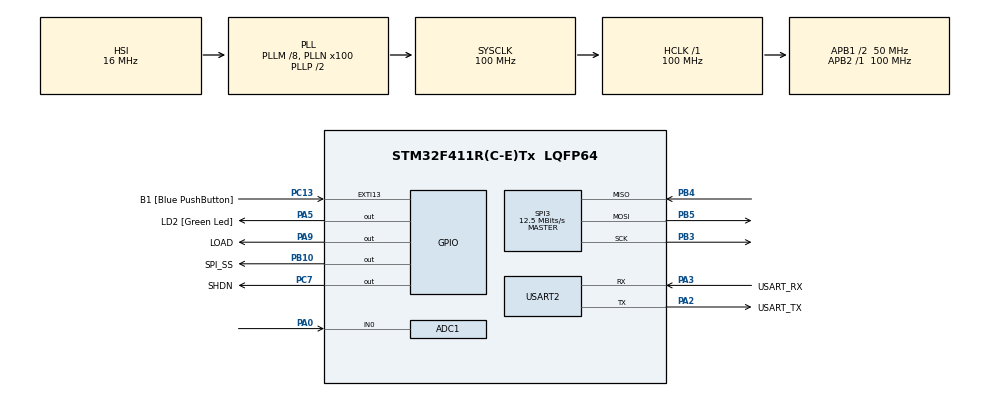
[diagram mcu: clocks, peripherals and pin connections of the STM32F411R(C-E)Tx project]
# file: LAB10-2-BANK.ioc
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Mcu.Family=STM32F4
PB10.PinState=GPIO_PIN_SET
RCC.CortexFreq_Value=100000000
SPI3.Direction=SPI_DIRECTION_2LINES
SPI3.VirtualType=VM_MASTER
PA14.GPIO_Label=TCK
RCC.SYSCLKSource=RCC_SYSCLKSOURCE_PLLCLK
ProjectManager.StackSize=0x400
NVIC.ADC_IRQn=true\:0\:0\:false\:false\:true\:true\:true
PH0\ -\ OSC_IN.Signal=RCC_OSC_IN
RCC.HCLKFreq_Value=100000000
RCC.APB2TimFreq_Value=100000000
TIM3.Period=100
Dma.ADC1.0.Direction=DMA_PERIPH_TO_MEMORY
PC7.Signal=GPIO_Output
NVIC.DMA2_Stream0_IRQn=true\:0\:0\:false\:false\:true\:false\:true
Dma.ADC1.0.MemDataAlignment=DMA_MDATAALIGN_HALFWORD
RCC.AHBFreq_Value=100000000
SPI3.DataSize=SPI_DATASIZE_16BIT
ADC1.Channel-0\#ChannelRegularConversion=ADC_CHANNEL_0
NVIC.TIM1_TRG_COM_TIM11_IRQn=true\:0\:0\:false\:false\:true\:true\:true
RCC.HSE_VALUE=8000000
PB3.Mode=Full_Duplex_Master
ADC1.ScanConvMode=ENABLE
PC13-ANTI_TAMP.Signal=GPXTI13
PB4.Mode=Full_Duplex_Master
PC14-OSC32_IN.Mode=LSE-External-Oscillator
PA14.Mode=Serial_Wire
TIM3.Prescaler=99
Dma.ADC1.0.PeriphInc=DMA_PINC_DISABLE
PB5.Mode=Full_Duplex_Master
PC7.PinState=GPIO_PIN_SET
SH.ADCx_IN0.0=ADC1_IN0,IN0
ADC1.SamplingTime-0\#ChannelRegularConversion=ADC_SAMPLETIME_3CYCLES
RCC.FLatency-AdvancedSettings=FLASH_LATENCY_3
Mcu.Package=LQFP64
SPI3.Mode=SPI_MODE_MASTER
USART2.VirtualMode=VM_ASYNC
PA2.GPIO_Label=USART_TX
NVIC.SPI3_IRQn=true\:0\:0\:false\:false\:true\:true\:true
RCC.APB1TimFreq_Value=100000000
Dma.ADC1.0.FIFOMode=DMA_FIFOMODE_DISABLE
Dma.Request0=ADC1
VP_TIM3_VS_ClockSourceINT.Mode=Internal
PB4.Signal=SPI3_MISO
PA3.Signal=USART2_RX
PC15-OSC32_OUT.Mode=LSE-External-Oscillator
Dma.ADC1.0.Instance=DMA2_Stream0
ADC1.Rank-0\#ChannelRegularConversion=1
PC13-ANTI_TAMP.GPIO_Label=B1 [Blue PushButton]
PA9.GPIO_Label=LOAD
PH1\ -\ OSC_OUT.Mode=HSE-External-Clock-Source
TIM11.Prescaler=99
RCC.APB1CLKDivider=RCC_HCLK_DIV2
PC14-OSC32_IN.Signal=RCC_OSC32_IN
NVIC.USART2_IRQn=true\:0\:0\:false\:false\:true\:true\:true
PA0-WKUP.Signal=ADCx_IN0
VP_TIM11_VS_ClockSourceINT.Mode=Enable_Timer
PA13.Signal=SYS_JTMS-SWDIO
PA3.Mode=Asynchronous
Dma.ADC1.0.PeriphDataAlignment=DMA_PDATAALIGN_HALFWORD
PH0\ -\ OSC_IN.Mode=HSE-External-Clock-Source
ProjectManager.TargetToolchain=STM32CubeIDE
PB10.GPIO_Label=SPI_SS
Dma.ADC1.0.Mode=DMA_CIRCULAR
Dma.ADC1.0.Priority=DMA_PRIORITY_LOW
PA9.Signal=GPIO_Output
PA9.PinState=GPIO_PIN_SET
PC15-OSC32_OUT.Signal=RCC_OSC32_OUT
PB10.Signal=GPIO_Output
PA5.Signal=GPIO_Output
PH1\ -\ OSC_OUT.Signal=RCC_OSC_OUT
board=NUCLEO-F411RE
RCC.VCOOutputFreq_Value=200000000
RCC.APB2Freq_Value=100000000
SPI3.CalculateBaudRate=12.5 MBits/s
SPI3.BaudRatePrescaler=SPI_BAUDRATEPRESCALER_4
ADC1.DMAContinuousRequests=ENABLE
PA13.Mode=Serial_Wire
Mcu.Name=STM32F411R(C-E)Tx
PA2.Signal=USART2_TX
PA13.GPIO_Label=TMS
ADC1.ExternalTrigConv=ADC_EXTERNALTRIGCONV_T3_TRGO
PC7.GPIO_Label=SHDN
RCC.48MHZClocksFreq_Value=50000000
PB3.Signal=SPI3_SCK
RCC.SYSCLKFreq_VALUE=100000000
PB5.Signal=SPI3_MOSI
ADC1.master=1
PA5.GPIO_Label=LD2 [Green Led]
PC13-ANTI_TAMP.GPIO_ModeDefaultEXTI=GPIO_MODE_IT_FALLING
PA14.Signal=SYS_JTCK-SWCLK
Dma.ADC1.0.MemInc=DMA_MINC_ENABLE
ProjectManager.HeapSize=0x200
RCC.HSI_VALUE=16000000
NVIC.PriorityGroup=NVIC_PRIORITYGROUP_0
ADC1.NbrOfConversionFlag=1
RCC.PLLM=8
RCC.PLLN=100
PA2.Mode=Asynchronous
TIM3.TIM_MasterOutputTrigger=TIM_TRGO_UPDATE
RCC.APB1Freq_Value=50000000
PA3.GPIO_Label=USART_RX

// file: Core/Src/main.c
/* USER CODE BEGIN Header */
/**
  ******************************************************************************
  * @file           : main.c
  * @brief          : Main program body
  ******************************************************************************
  * @attention
  *
  * <h2><center>&copy; Copyright (c) 2021 STMicroelectronics.
  * All rights reserved.</center></h2>
  *
  * This software component is licensed by ST under BSD 3-Clause license,
  * the "License"; You may not use this file except in compliance with the
  * License. You may obtain a copy of the License at:
  *                        opensource.org/licenses/BSD-3-Clause
  *
  ******************************************************************************
  */
/* USER CODE END Header */
#include "main.h"

/* USER CODE BEGIN Includes */
#include <math.h>
#include <stdio.h>   //sprintf
#include <string.h>   //strlen
/* USER CODE END Includes */

ADC_HandleTypeDef hadc1;
DMA_HandleTypeDef hdma_adc1;

SPI_HandleTypeDef hspi3;

TIM_HandleTypeDef htim3;
TIM_HandleTypeDef htim11;

UART_HandleTypeDef huart2;

/* USER CODE BEGIN PV */
uint16_t ADCin = 0;
uint64_t _micro = 0;
float bitvoltuint = 0;
float bitvoltuint1 = 0;
//12bit ของ dac
uint16_t dataOut = 0;
uint8_t DACConfig = 0b0011;
uint64_t timestamp = 0;
uint64_t timestamp1 = 0;
uint64_t timestamp2 = 0;
float a = 0;
float dutycycle = 0;
float squarecheck = 0;

float AngleInput =0;
float SineOutput =0;
double ChangeRate =0.0015;
float OutputAmp = 0;

float bitvolt = 0;
float hz = 1;
float sawtooth = 0;
float vhigh = 3.3;
float vlow = 0;
float bitvhigh = 0;
float bitvlow = 0;
float slopeup = 1;
float slopedown = 0;
float sinewave = 1;
float squarewave = 0;
float hzzero = 0;

char TxDataBuffer[32] =
{ 0 };
char RxDataBuffer[32] =
{ 0 };

enum state
{
	mainmenu = 0,
	mainmenuwait,
	sawtoothmenu,
	sawtoothmenuwait,
	sinewavemenu,
	sinewavemenuwait,
	squarewavemenu,
	squarewavemenuwait,
	frequencymenu,
	frequencymenuwait,
	vhighmenu,
	vhighmenuwait,
	vlowmenu,
	vlowmenuwait,
	slopemenu,
	slopemenuwait,
	dutycyclemenu,
	dutycyclemenuwait,

};

uint8_t state = mainmenu;
//ใน datasheet สิ่งที่เปลี่ยนคือ d0-d12
/* USER CODE END PV */

void SystemClock_Config(void);
static void MX_GPIO_Init(void);
static void MX_DMA_Init(void);
static void MX_USART2_UART_Init(void);
static void MX_ADC1_Init(void);
static void MX_SPI3_Init(void);
static void MX_TIM3_Init(void);
static void MX_TIM11_Init(void);
/* USER CODE BEGIN PFP */
void MCP4922SetOutput(uint8_t Config, uint16_t DACOutput);
uint64_t micros();
void UARTRecieveAndResponsePolling();
int16_t UARTRecieveIT();
/* USER CODE END PFP */

int main(void)
{

  /* MCU Configuration--------------------------------------------------------*/

  /* Reset of all peripherals, Initializes the Flash interface and the Systick. */
  HAL_Init();

  /* Configure the system clock */
  SystemClock_Config();

  /* Initialize all configured peripherals */
  MX_GPIO_Init();
  MX_DMA_Init();
  MX_USART2_UART_Init();
  MX_ADC1_Init();
  MX_SPI3_Init();
  MX_TIM3_Init();
  MX_TIM11_Init();
  /* USER CODE BEGIN 2 */
  	HAL_TIM_Base_Start(&htim3);
  	HAL_TIM_Base_Start_IT(&htim11);
  	HAL_ADC_Start_DMA(&hadc1, (uint32_t*) &ADCin, 1);
//เอาไว้ตรงนี้เพื่อให้มันทำงาน
  	HAL_GPIO_WritePin(LOAD_GPIO_Port, LOAD_Pin, GPIO_PIN_RESET);
  /* USER CODE END 2 */

  /* Infinite loop */
  /* USER CODE BEGIN WHILE */
  while (1)
  {

	  	HAL_UART_Receive_IT(&huart2,  (uint8_t*)RxDataBuffer, 32);

  		int16_t inputchar = UARTRecieveIT();
		if(inputchar!=-1)
  		{

  			sprintf(TxDataBuffer, "ReceivedChar:[%c]\r\n", inputchar);
  			HAL_UART_Transmit(&huart2, (uint8_t*)TxDataBuffer, strlen(TxDataBuffer), 1000);
  		}

		bitvhigh = ((4095*vhigh)/3.3);
	    bitvlow = ((4095*vlow)/3.3);
	    if(sawtooth == 1)
	    {
				if(hz > 0)
				{

						//static uint64_t timestamp = 0;
						if (micros() - timestamp > 100) //100us = 10khz
						{
								timestamp = micros();
								a += 0.0001;
								if(slopeup == 1)
								{

										 bitvolt+=((bitvhigh-bitvlow)*hz)/10000;
										 if(bitvolt >= bitvhigh)
										 {
											 bitvolt = bitvlow;
										 }
									//	 bitvoltuint%=4096;
										 bitvoltuint = bitvolt;
										 dataOut = bitvoltuint;
										 if (hspi3.State == HAL_SPI_STATE_READY
													 && HAL_GPIO_ReadPin(SPI_SS_GPIO_Port, SPI_SS_Pin)
															 == GPIO_PIN_SET)
										 {
												 MCP4922SetOutput(DACConfig, dataOut);
										 }
								  }
								  else if(slopedown == 1)
								  {
									  	  bitvolt-=((bitvhigh-bitvlow)*hz)/10000;
										  if(bitvolt <= bitvlow)
										  {
											  bitvolt = bitvhigh;
										  }
										  bitvoltuint = bitvolt;
										  dataOut = bitvoltuint;
										  if (hspi3.State == HAL_SPI_STATE_READY
														 && HAL_GPIO_ReadPin(SPI_SS_GPIO_Port, SPI_SS_Pin)
																 == GPIO_PIN_SET)
										  {
												 MCP4922SetOutput(DACConfig, dataOut);
										  }
								  }

						 }
				}

	    }
	    else if(sinewave == 1)
	    {
				if(hz > 0)
	    		{
	    				if (micros() - timestamp1 >  100 )
						{
							  timestamp1 = micros();
							  //t = micros();
							 // A = 4095/2;
							 //dcgain = (4095/2);
							  OutputAmp = (bitvhigh-bitvlow)/2;
							  AngleInput += ChangeRate;
							  if (AngleInput > 2*M_PI)
							  {
									  AngleInput -= 2*M_PI;
							  }
							  else if (AngleInput < 0)
							  {
									  AngleInput += 2*M_PI;
							  }

							  SineOutput = OutputAmp*sin(2*(M_PI)*hz*(timestamp1-timestamp)/1000000.0)+((bitvhigh+bitvlow)/2);
							//  bitvolt = A*sin(2*(M_PI)*hz*t)+dcgain;
							//  bitvoltuint = bitvolt;
							  bitvoltuint1 = SineOutput;

							  dataOut = bitvoltuint1;
							  if (hspi3.State == HAL_SPI_STATE_READY
											 && HAL_GPIO_ReadPin(SPI_SS_GPIO_Port, SPI_SS_Pin)
													 == GPIO_PIN_SET)
							  {
									 MCP4922SetOutput(DACConfig, dataOut);
							  }
						}
	    		}

	    }
	    else if(squarewave == 1)
	    {
	    		if(hz > 0)
	    		{
	    					if (micros() - timestamp2 > (1/hz)*(dutycycle/100.0)*1000000 && squarecheck == 1)
							{
									timestamp2 = micros();
									dataOut = bitvlow;
									squarecheck = 0;
							}
							else if (micros() - timestamp2 > (1/hz)*((100-dutycycle)/100.0)*1000000 && squarecheck == 0)
							{
									timestamp2 = micros();
									dataOut = bitvhigh;
									squarecheck = 1;
							}
							  if (hspi3.State == HAL_SPI_STATE_READY
											 && HAL_GPIO_ReadPin(SPI_SS_GPIO_Port, SPI_SS_Pin)
													 == GPIO_PIN_SET)
							  {
									 MCP4922SetOutput(DACConfig, dataOut);
							  }

	    		}

	    }

	    switch(state)
	    {
	    		case mainmenu:
	  					sprintf(TxDataBuffer, "Main Menu\r\n0:Sawtooth\r\n1:Sine wave\r\n2:Square wave\r\nx:back\r\n");
	  					HAL_UART_Transmit(&huart2, (uint8_t*)TxDataBuffer, strlen(TxDataBuffer), 1000);
						state = mainmenuwait;
	    				break;

	    		case mainmenuwait:
						switch(inputchar)
						{
	  							case '0':
	  								sawtooth = 1;
	  								sinewave = 0;
	  								squarewave = 0;
	  								state = sawtoothmenu;
	  								break;
	  							case '1':
	  								sawtooth = 0;
	  								sinewave = 1;
	  								squarewave = 0;
	  								timestamp = micros();   //เวลาเเรกสุดของการ gen sine
	  								state = sinewavemenu;
	  								break;
	  							case '2':
	  								sawtooth = 0;
	  								sinewave = 0;
	  								squarewave = 1;
	  								timestamp2 = micros();
	  								state = squarewavemenu;
	  								break;
	  							case 'x':
	  								state = mainmenu;
	  								break;
								case -1:
									break;
								default:
									sprintf(TxDataBuffer, "Wrong\r\n");
									HAL_UART_Transmit(&huart2, (uint8_t*)TxDataBuffer, strlen(TxDataBuffer), 1000);
									break;
						}
						break;

				case sawtoothmenu:
						sprintf(TxDataBuffer, "sawtooth\r\nf:frequency\r\nh:vhigh\r\nl:vlow\r\ns:slopeup/down\r\nx:back\r\n");
						HAL_UART_Transmit(&huart2, (uint8_t*)TxDataBuffer, strlen(TxDataBuffer), 1000);
						state = sawtoothmenuwait;
						break;

				case sawtoothmenuwait:
						switch(inputchar)
						{
								case 'f':
									state = frequencymenu;
									break;
								case 'h':
									state = vhighmenu;
									break;
								case 'l':
									state = vlowmenu;
									break;
								case 's':
									state = slopemenu;
									break;
								case 'x':
									state = mainmenu;
									break;
								case -1:
									break;
								default:
									sprintf(TxDataBuffer, "Wrong\r\n");
									HAL_UART_Transmit(&huart2, (uint8_t*)TxDataBuffer, strlen(TxDataBuffer), 1000);
									break;
						}
						break;

				case sinewavemenu:
						sprintf(TxDataBuffer, "sinewave\r\nf:frequency\r\nh:vhigh\r\nl:vlow\r\nx:back\r\n");
						HAL_UART_Transmit(&huart2, (uint8_t*)TxDataBuffer, strlen(TxDataBuffer), 1000);
						state = sinewavemenuwait;
						break;
				case sinewavemenuwait:
						switch(inputchar)
						{
								case 'f':
									state = frequencymenu;
									break;
								case 'h':
									state = vhighmenu;
									break;
								case 'l':
									state = vlowmenu;
									break;
								case 'x':
									state = mainmenu;
									break;
								case -1:
									break;
								default:
									sprintf(TxDataBuffer, "Wrong\r\n");
									HAL_UART_Transmit(&huart2, (uint8_t*)TxDataBuffer, strlen(TxDataBuffer), 1000);
									break;
						}
						break;

				case squarewavemenu:
						sprintf(TxDataBuffer, "square\r\nf:frequency\r\nh:vhigh\r\nl:vlow\r\nd:dutycycle\r\nx:back\r\n");
						HAL_UART_Transmit(&huart2, (uint8_t*)TxDataBuffer, strlen(TxDataBuffer), 1000);
						state = squarewavemenuwait;
						break;

				case squarewavemenuwait:
						switch(inputchar)
						{
								case 'f':
									state = frequencymenu;
									break;
								case 'h':
									state = vhighmenu;
									break;
								case 'l':
									state = vlowmenu;
									break;
								case 'd':
									state = dutycyclemenu;
									break;
								case 'x':
									state = mainmenu;
									break;
								case -1:
									break;
								default:
									sprintf(TxDataBuffer, "Wrong\r\n");
									HAL_UART_Transmit(&huart2, (uint8_t*)TxDataBuffer, strlen(TxDataBuffer), 1000);
									break;
						}
						break;

				case frequencymenu:
						sprintf(TxDataBuffer, "frequency\r\n+:add\r\n-:minus\r\nx:back\r\n");
						HAL_UART_Transmit(&huart2, (uint8_t*)TxDataBuffer, strlen(TxDataBuffer), 1000);
						state = frequencymenuwait;
						break;

				case frequencymenuwait:
						switch(inputchar)
						{
								case '+':
									if(hz < 10)
									{
										hz += 0.1;
									}
									break;
								case '-':
									if(hz > 0)
									{
										hz -= 0.1;
									}
									break;
								case 'x':
									state = mainmenu;
									break;
								case -1:
									break;
								default:
									sprintf(TxDataBuffer, "Wrong\r\n");
									HAL_UART_Transmit(&huart2, (uint8_t*)TxDataBuffer, strlen(TxDataBuffer), 1000);
									break;
						}
						break;

				case vhighmenu:
						sprintf(TxDataBuffer, "vhigh\r\n+:add\r\n-:minus\r\nx:back\r\n");
						HAL_UART_Transmit(&huart2, (uint8_t*)TxDataBuffer, strlen(TxDataBuffer), 1000);
						state = vhighmenuwait;
						break;
				case vhighmenuwait:
						switch(inputchar)
						{
								case '+':
									if(vhigh < 3.3)
									{
										vhigh += 0.1;
									}
									if(vhigh > 3.3)
									{
										vhigh = 3.3;
									}
									break;
								case '-':
									if(vhigh >= vlow)
									{
										if(vhigh > 0)
										{
											vhigh -= 0.1;
										}
									}
									break;
								case 'x':
									state = mainmenu;
									break;
								case -1:
									break;
								default:
									sprintf(TxDataBuffer, "Wrong\r\n");
									HAL_UART_Transmit(&huart2, (uint8_t*)TxDataBuffer, strlen(TxDataBuffer), 1000);
									break;
						}
						break;

				case vlowmenu:
						sprintf(TxDataBuffer, "vlow\r\n+:add\r\n-:minus\r\nx:back\r\n");
						HAL_UART_Transmit(&huart2, (uint8_t*)TxDataBuffer, strlen(TxDataBuffer), 1000);
						state = vlowmenuwait;
						break;
				case vlowmenuwait:
						switch(inputchar)
						{
										case '+':
											if(vlow <= vhigh)
											{
												if(vlow < 3.3)
												{
													vlow += 0.1;
												}
											}
											break;
										case '-':
											if(vlow > 0)
											{
												vlow -= 0.1;
											}
											if(vlow < 0)
											{
												vlow = 0;
											}
											break;
										case 'x':
											state = mainmenu;
											break;
										case -1:
											break;
										default:
											sprintf(TxDataBuffer, "Wrong\r\n");
											HAL_UART_Transmit(&huart2, (uint8_t*)TxDataBuffer, strlen(TxDataBuffer), 1000);
											break;
						}
						break;

				case slopemenu:
						sprintf(TxDataBuffer, "slope\r\n0:slopedown\r\n1:slopeup\r\nx:back\r\n");
						HAL_UART_Transmit(&huart2, (uint8_t*)TxDataBuffer, strlen(TxDataBuffer), 1000);
						state = slopemenuwait;
						break;

				case slopemenuwait:
						switch(inputchar)
						{
								case '1':
									slopedown = 0;
									slopeup = 1;
									break;
								case '0':
									slopeup = 0;
									slopedown = 1;
									break;
								case 'x':
									state = mainmenu;
									break;
								case -1:
									break;
								default:
									sprintf(TxDataBuffer, "Wrong\r\n");
									HAL_UART_Transmit(&huart2, (uint8_t*)TxDataBuffer, strlen(TxDataBuffer), 1000);
									break;
						}
						break;

				case dutycyclemenu:
						sprintf(TxDataBuffer, "dutycycle\r\n+:add\r\n-:minus\r\nx:back\r\n");
						HAL_UART_Transmit(&huart2, (uint8_t*)TxDataBuffer, strlen(TxDataBuffer), 1000);
						state = dutycyclemenuwait;
						break;
				case dutycyclemenuwait:
						switch(inputchar)
						{
								case '+':
									if(dutycycle < 100)
									{
										dutycycle += 10;
									}
									break;
								case '-':
									if(dutycycle > 0)
									{
										dutycycle -= 10;
									}
									break;
								case 'x':
									state = mainmenu;
									break;
								case -1:
									break;
								default:
									sprintf(TxDataBuffer, "Wrong\r\n");
									HAL_UART_Transmit(&huart2, (uint8_t*)TxDataBuffer, strlen(TxDataBuffer), 1000);
									break;
						}
						break;

//						case vhighmenu:

	   }
    /* USER CODE END WHILE */

  }
}

void SystemClock_Config(void)
{
  RCC_OscInitTypeDef RCC_OscInitStruct = {0};
  RCC_ClkInitTypeDef RCC_ClkInitStruct = {0};

  /** Configure the main internal regulator output voltage
  */
  __HAL_RCC_PWR_CLK_ENABLE();
  __HAL_PWR_VOLTAGESCALING_CONFIG(PWR_REGULATOR_VOLTAGE_SCALE1);
  /** Initializes the RCC Oscillators according to the specified parameters
  * in the RCC_OscInitTypeDef structure.
  */
  RCC_OscInitStruct.OscillatorType = RCC_OSCILLATORTYPE_HSI;
  RCC_OscInitStruct.HSIState = RCC_HSI_ON;
  RCC_OscInitStruct.HSICalibrationValue = RCC_HSICALIBRATION_DEFAULT;
  RCC_OscInitStruct.PLL.PLLState = RCC_PLL_ON;
  RCC_OscInitStruct.PLL.PLLSource = RCC_PLLSOURCE_HSI;
  RCC_OscInitStruct.PLL.PLLM = 8;
  RCC_OscInitStruct.PLL.PLLN = 100;
  RCC_OscInitStruct.PLL.PLLP = RCC_PLLP_DIV2;
  RCC_OscInitStruct.PLL.PLLQ = 4;
  if (HAL_RCC_OscConfig(&RCC_OscInitStruct) != HAL_OK)
  {
    Error_Handler();
  }
  /** Initializes the CPU, AHB and APB buses clocks
  */
  RCC_ClkInitStruct.ClockType = RCC_CLOCKTYPE_HCLK|RCC_CLOCKTYPE_SYSCLK
                              |RCC_CLOCKTYPE_PCLK1|RCC_CLOCKTYPE_PCLK2;
  RCC_ClkInitStruct.SYSCLKSource = RCC_SYSCLKSOURCE_PLLCLK;
  RCC_ClkInitStruct.AHBCLKDivider = RCC_SYSCLK_DIV1;
  RCC_ClkInitStruct.APB1CLKDivider = RCC_HCLK_DIV2;
  RCC_ClkInitStruct.APB2CLKDivider = RCC_HCLK_DIV1;

  if (HAL_RCC_ClockConfig(&RCC_ClkInitStruct, FLASH_LATENCY_3) != HAL_OK)
  {
    Error_Handler();
  }
}

static void MX_ADC1_Init(void)
{

  ADC_ChannelConfTypeDef sConfig = {0};

  /** Configure the global features of the ADC (Clock, Resolution, Data Alignment and number of conversion)
  */
  hadc1.Instance = ADC1;
  hadc1.Init.ClockPrescaler = ADC_CLOCK_SYNC_PCLK_DIV4;
  hadc1.Init.Resolution = ADC_RESOLUTION_12B;
  hadc1.Init.ScanConvMode = ENABLE;
  hadc1.Init.ContinuousConvMode = DISABLE;
  hadc1.Init.DiscontinuousConvMode = DISABLE;
  hadc1.Init.ExternalTrigConvEdge = ADC_EXTERNALTRIGCONVEDGE_RISING;
  hadc1.Init.ExternalTrigConv = ADC_EXTERNALTRIGCONV_T3_TRGO;
  hadc1.Init.DataAlign = ADC_DATAALIGN_RIGHT;
  hadc1.Init.NbrOfConversion = 1;
  hadc1.Init.DMAContinuousRequests = ENABLE;
  hadc1.Init.EOCSelection = ADC_EOC_SINGLE_CONV;
  if (HAL_ADC_Init(&hadc1) != HAL_OK)
  {
    Error_Handler();
  }
  /** Configure for the selected ADC regular channel its corresponding rank in the sequencer and its sample time.
  */
  sConfig.Channel = ADC_CHANNEL_0;
  sConfig.Rank = 1;
  sConfig.SamplingTime = ADC_SAMPLETIME_3CYCLES;
  if (HAL_ADC_ConfigChannel(&hadc1, &sConfig) != HAL_OK)
  {
    Error_Handler();
  }

}

static void MX_SPI3_Init(void)
{

  /* SPI3 parameter configuration*/
  hspi3.Instance = SPI3;
  hspi3.Init.Mode = SPI_MODE_MASTER;
  hspi3.Init.Direction = SPI_DIRECTION_2LINES;
  hspi3.Init.DataSize = SPI_DATASIZE_16BIT;
  hspi3.Init.CLKPolarity = SPI_POLARITY_LOW;
  hspi3.Init.CLKPhase = SPI_PHASE_1EDGE;
  hspi3.Init.NSS = SPI_NSS_SOFT;
  hspi3.Init.BaudRatePrescaler = SPI_BAUDRATEPRESCALER_4;
  hspi3.Init.FirstBit = SPI_FIRSTBIT_MSB;
  hspi3.Init.TIMode = SPI_TIMODE_DISABLE;
  hspi3.Init.CRCCalculation = SPI_CRCCALCULATION_DISABLE;
  hspi3.Init.CRCPolynomial = 10;
  if (HAL_SPI_Init(&hspi3) != HAL_OK)
  {
    Error_Handler();
  }

}

static void MX_TIM3_Init(void)
{

  TIM_ClockConfigTypeDef sClockSourceConfig = {0};
  TIM_MasterConfigTypeDef sMasterConfig = {0};

  htim3.Instance = TIM3;
  htim3.Init.Prescaler = 99;
  htim3.Init.CounterMode = TIM_COUNTERMODE_UP;
  htim3.Init.Period = 100;
  htim3.Init.ClockDivision = TIM_CLOCKDIVISION_DIV1;
  htim3.Init.AutoReloadPreload = TIM_AUTORELOAD_PRELOAD_DISABLE;
  if (HAL_TIM_Base_Init(&htim3) != HAL_OK)
  {
    Error_Handler();
  }
  sClockSourceConfig.ClockSource = TIM_CLOCKSOURCE_INTERNAL;
  if (HAL_TIM_ConfigClockSource(&htim3, &sClockSourceConfig) != HAL_OK)
  {
    Error_Handler();
  }
  sMasterConfig.MasterOutputTrigger = TIM_TRGO_UPDATE;
  sMasterConfig.MasterSlaveMode = TIM_MASTERSLAVEMODE_DISABLE;
  if (HAL_TIMEx_MasterConfigSynchronization(&htim3, &sMasterConfig) != HAL_OK)
  {
    Error_Handler();
  }

}

static void MX_TIM11_Init(void)
{

  htim11.Instance = TIM11;
  htim11.Init.Prescaler = 99;
  htim11.Init.CounterMode = TIM_COUNTERMODE_UP;
  htim11.Init.Period = 65535;
  htim11.Init.ClockDivision = TIM_CLOCKDIVISION_DIV1;
  htim11.Init.AutoReloadPreload = TIM_AUTORELOAD_PRELOAD_DISABLE;
  if (HAL_TIM_Base_Init(&htim11) != HAL_OK)
  {
    Error_Handler();
  }

}

static void MX_USART2_UART_Init(void)
{

  huart2.Instance = USART2;
  huart2.Init.BaudRate = 115200;
  huart2.Init.WordLength = UART_WORDLENGTH_8B;
  huart2.Init.StopBits = UART_STOPBITS_1;
  huart2.Init.Parity = UART_PARITY_NONE;
  huart2.Init.Mode = UART_MODE_TX_RX;
  huart2.Init.HwFlowCtl = UART_HWCONTROL_NONE;
  huart2.Init.OverSampling = UART_OVERSAMPLING_16;
  if (HAL_UART_Init(&huart2) != HAL_OK)
  {
    Error_Handler();
  }

}

static void MX_DMA_Init(void)
{

  /* DMA controller clock enable */
  __HAL_RCC_DMA2_CLK_ENABLE();

  /* DMA interrupt init */
  /* DMA2_Stream0_IRQn interrupt configuration */
  HAL_NVIC_SetPriority(DMA2_Stream0_IRQn, 0, 0);
  HAL_NVIC_EnableIRQ(DMA2_Stream0_IRQn);

}

static void MX_GPIO_Init(void)
{
  GPIO_InitTypeDef GPIO_InitStruct = {0};

  /* GPIO Ports Clock Enable */
  __HAL_RCC_GPIOC_CLK_ENABLE();
  __HAL_RCC_GPIOH_CLK_ENABLE();
  __HAL_RCC_GPIOA_CLK_ENABLE();
  __HAL_RCC_GPIOB_CLK_ENABLE();

  /*Configure GPIO pin Output Level */
  HAL_GPIO_WritePin(LD2_GPIO_Port, LD2_Pin, GPIO_PIN_RESET);

  /*Configure GPIO pin Output Level */
  HAL_GPIO_WritePin(SPI_SS_GPIO_Port, SPI_SS_Pin, GPIO_PIN_SET);

  /*Configure GPIO pin Output Level */
  HAL_GPIO_WritePin(SHDN_GPIO_Port, SHDN_Pin, GPIO_PIN_SET);

  /*Configure GPIO pin Output Level */
  HAL_GPIO_WritePin(LOAD_GPIO_Port, LOAD_Pin, GPIO_PIN_SET);

  /*Configure GPIO pin : B1_Pin */
  GPIO_InitStruct.Pin = B1_Pin;
  GPIO_InitStruct.Mode = GPIO_MODE_IT_FALLING;
  GPIO_InitStruct.Pull = GPIO_NOPULL;
  HAL_GPIO_Init(B1_GPIO_Port, &GPIO_InitStruct);

  /*Configure GPIO pins : LD2_Pin LOAD_Pin */
  GPIO_InitStruct.Pin = LD2_Pin|LOAD_Pin;
  GPIO_InitStruct.Mode = GPIO_MODE_OUTPUT_PP;
  GPIO_InitStruct.Pull = GPIO_NOPULL;
  GPIO_InitStruct.Speed = GPIO_SPEED_FREQ_LOW;
  HAL_GPIO_Init(GPIOA, &GPIO_InitStruct);

  /*Configure GPIO pin : SPI_SS_Pin */
  GPIO_InitStruct.Pin = SPI_SS_Pin;
  GPIO_InitStruct.Mode = GPIO_MODE_OUTPUT_PP;
  GPIO_InitStruct.Pull = GPIO_NOPULL;
  GPIO_InitStruct.Speed = GPIO_SPEED_FREQ_LOW;
  HAL_GPIO_Init(SPI_SS_GPIO_Port, &GPIO_InitStruct);

  /*Configure GPIO pin : SHDN_Pin */
  GPIO_InitStruct.Pin = SHDN_Pin;
  GPIO_InitStruct.Mode = GPIO_MODE_OUTPUT_PP;
  GPIO_InitStruct.Pull = GPIO_NOPULL;
  GPIO_InitStruct.Speed = GPIO_SPEED_FREQ_LOW;
  HAL_GPIO_Init(SHDN_GPIO_Port, &GPIO_InitStruct);

}

/* USER CODE BEGIN 4 */
void MCP4922SetOutput(uint8_t Config, uint16_t DACOutput)
{
	//config คือ 4 bit บน เเละ dacoutput คือ 12 bit ล่าง
	uint32_t OutputPacket = (DACOutput & 0x0fff) | ((Config & 0xf) << 12);
	HAL_GPIO_WritePin(SPI_SS_GPIO_Port, SPI_SS_Pin, GPIO_PIN_RESET);
	HAL_SPI_Transmit_IT(&hspi3, &OutputPacket, 1);
}

void HAL_SPI_TxCpltCallback(SPI_HandleTypeDef *hspi)
{
	if (hspi == &hspi3)
	{
		HAL_GPIO_WritePin(SPI_SS_GPIO_Port, SPI_SS_Pin, GPIO_PIN_SET);
	}
}

void UARTRecieveAndResponsePolling() //function ส่งอะไรมาเเล้วรับอะไรไป
{
	char Recieve[32]={0};
//Received ตามไฟ�?ระพริบของ LD2ด้วย ไฟติด received ไฟดับ received เเละใน received สามารถ�?ดเเป้น key พิมพ์ได้
	HAL_UART_Receive(&huart2, (uint8_t*)Recieve, 4, 1000);
//ส่ง�?ลับไป
	//ถ้า�?ำหนดหลัง receive เป็น 4 เเปลว่าถ้าเรา�?ดเเป้นพิมครบ 4 ตัวมันจะออ�?จา�? function ทันทีเเละเเต่ละอันที่มัน received จะไม่มีทางเ�?ิน 4 ถ้ายัง�?ดไม่ครบ 4 ตัว มันจะ
	//receive ความเร็วตามป�?ติ เนื่องจา�?มันยังรอตัวอั�?ษรที่ป้อนเข้าไป เเต่ ถ้าครบเเล้วมันจะออ�?จา�? function ทันที มันจะขึ้น received เร็วมา�?
	sprintf(TxDataBuffer, "Received:[%s]\r\n", Recieve);
	HAL_UART_Transmit(&huart2, (uint8_t*)TxDataBuffer, strlen(TxDataBuffer), 1000);
//คือตัว printf มัน print ลงในตัวเเปรซั�?ตัวเเปรนึง
	//print ไว้ใน databuffer ซึ่งมันเป็น global
}

int16_t UARTRecieveIT()
{
	static uint32_t dataPos =0;
	//ประ�?าศให้ตัวเเปรนี้รั�?ษาค่าเดิมเอาไว้
	int16_t data=-1;
	if(huart2.RxXferSize - huart2.RxXferCount!=dataPos)
	{
		//เพื่อให้ได้ตำเเหน่งของข้อมูล
		data=RxDataBuffer[dataPos];
		dataPos= (dataPos+1)%huart2.RxXferSize;
	}
	return data;
}

void HAL_UART_RxCpltCallback(UART_HandleTypeDef *huart)
{
	sprintf(TxDataBuffer, "Received:[%s]\r\n", RxDataBuffer);
	//HAL_UART_Transmit(&huart2, (uint8_t*)TxDataBuffer, strlen(TxDataBuffer), 1000);
	HAL_UART_Transmit_IT(&huart2, (uint8_t*)TxDataBuffer, strlen(TxDataBuffer));
	//functionนี้คือจะไม่ขึ้น receive จน�?ว่าจะใส่ข้อมูลครบ ถ้าเรา�?ำหนดขนาด 32  มันจะ received �?็ต่อเมื่อมันครบ 32
}

void HAL_TIM_PeriodElapsedCallback(TIM_HandleTypeDef *htim)
{
	if (htim == &htim11)
	{
		_micro += 65535;
	}
}

inline uint64_t micros()
{
	return htim11.Instance->CNT + _micro;
}
/* USER CODE END 4 */

void Error_Handler(void)
{
  __disable_irq();
  while (1)
  {
  }
}

/************************ (C) COPYRIGHT STMicroelectronics *****END OF FILE****/
